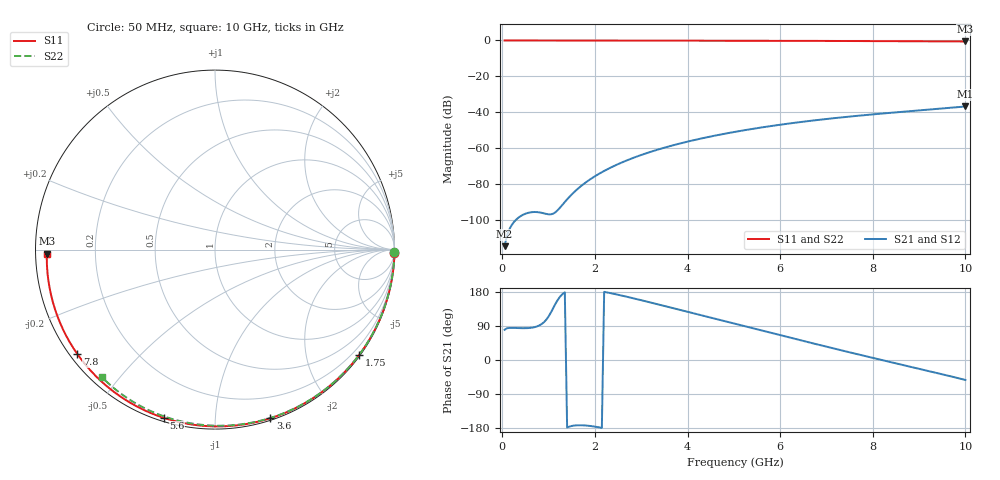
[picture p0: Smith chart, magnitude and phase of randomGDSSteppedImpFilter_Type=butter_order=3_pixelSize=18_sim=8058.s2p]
! freq	dB(S11)	phase(S11)	dB(S12)	phase(S12)
!  dB(S21)	phase(S21)	dB(S22)	phase(S22)
!S-par simulation data
#  GHz  S  DB  R 50
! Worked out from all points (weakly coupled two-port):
!   200 points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, 50 MHz to 10 GHz, reference 50 ohm
!   highest |S21| = -36.72 dB at 10 GHz (marker M1); lowest = -114.4 dB at 50 MHz (marker M2)
!   lowest |S11| = -0.6 dB at 10 GHz (marker M3), VSWR 31.01, Z = 1.61 - j0.58 ohm
!   |S11| at or under -10 dB: nowhere
!   |S22| runs from -0.4 to 0.0 dB; largest |S21 - S12| = 0
!   S11 on the Smith chart (normalised r, x): 50 MHz: open; 1.75 GHz: 0.03, -3.07; 3.6 GHz: 0.02, -1.38; 5.6 GHz: 0.02, -0.74; 7.8 GHz: 0.02, -0.34; 10 GHz: 0.03, -0.01
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0.05  -0.00 -1.0  -114.38 79.8  -114.38 79.8  -0.00 -0.8
0.45  -0.01 -9.4  -96.89 83.9  -96.89 83.9  -0.01 -6.8
0.85  -0.02 -17.7  -95.83 94.9  -95.83 94.9  -0.02 -12.9
1.3  -0.03 -27.0  -91.33 173.9  -91.33 173.9  -0.02 -19.6
1.75  -0.05 -36.1  -79.95 -172.4  -79.95 -172.4  -0.03 -26.2
1.9  -0.05 -39.1  -77.18 -174.1  -77.18 -174.1  -0.04 -28.4
2.05  -0.05 -42.1  -74.73 -176.8  -74.73 -176.8  -0.04 -30.6
2.25  -0.06 -46.0  -71.87 178.7  -71.87 178.7  -0.04 -33.5
2.45  -0.06 -49.9  -69.35 173.6  -69.35 173.6  -0.05 -36.4
2.9  -0.08 -58.6  -64.60 160.8  -64.60 160.8  -0.06 -42.8
3.4  -0.09 -68.1  -60.37 145.7  -60.37 145.7  -0.07 -49.9
3.6  -0.10 -71.8  -58.90 139.5  -58.90 139.5  -0.07 -52.7
4.3  -0.12 -84.5  -54.49 117.9  -54.49 117.9  -0.09 -62.3
5.05  -0.15 -97.6  -50.70 94.7  -50.70 94.7  -0.11 -72.2
5.6  -0.18 -106.9  -48.37 77.7  -48.37 77.7  -0.13 -79.3
6.15  -0.21 -116.1  -46.33 60.9  -46.33 60.9  -0.15 -86.3
6.7  -0.24 -125.0  -44.54 44.2  -44.54 44.2  -0.18 -93.1
7.25  -0.28 -133.9  -42.97 27.7  -42.97 27.7  -0.21 -99.7
7.8  -0.33 -142.7  -41.58 11.4  -41.58 11.4  -0.25 -106.2
8.35  -0.38 -151.6  -40.30 -4.5  -40.30 -4.5  -0.29 -112.7
9.2  -0.47 -165.3  -38.46 -28.9  -38.46 -28.9  -0.36 -122.4
10  -0.56 -178.7  -36.72 -52.7  -36.72 -52.7  -0.45 -131.4
